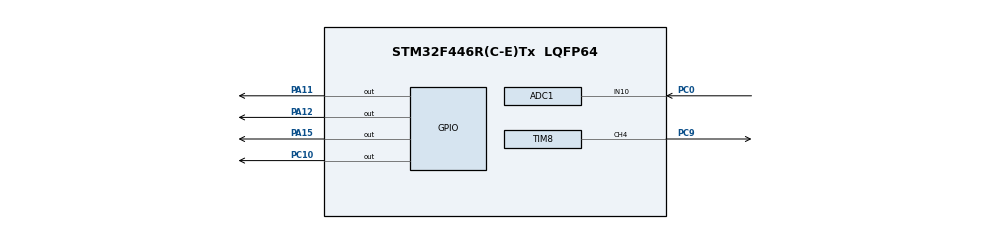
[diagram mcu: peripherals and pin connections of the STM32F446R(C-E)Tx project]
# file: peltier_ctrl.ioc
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ADC1.Channel-0\#ChannelRegularConversion=ADC_CHANNEL_10
ADC1.NbrOfConversionFlag=1
ADC1.Rank-0\#ChannelRegularConversion=1
ADC1.SamplingTime-0\#ChannelRegularConversion=ADC_SAMPLETIME_28CYCLES
ADC1.master=1
Mcu.Family=STM32F4
Mcu.Name=STM32F446R(C-E)Tx
Mcu.Package=LQFP64
NVIC.PriorityGroup=NVIC_PRIORITYGROUP_4
NVIC.TIM2_IRQn=true\:0\:0\:false\:false\:true\:true\:true
PA11.Signal=GPIO_Output
PA12.Signal=GPIO_Output
PA15.Signal=GPIO_Output
PC0.Signal=ADCx_IN10
PC10.Signal=GPIO_Output
PC9.Signal=S_TIM8_CH4
ProjectManager.HeapSize=0x200
ProjectManager.StackSize=0x400
ProjectManager.TargetToolchain=STM32CubeIDE
RCC.CortexFreq_Value=16000000
RCC.USBFreq_Value=96000000
RCC.VCOOutputFreq_Value=192000000
SH.ADCx_IN10.0=ADC1_IN10,IN10
SH.S_TIM8_CH4.0=TIM8_CH4,PWM Generation4 CH4
TIM2.AutoReloadPreload=TIM_AUTORELOAD_PRELOAD_ENABLE
TIM2.Channel-Output\ Compare1\ No\ Output=TIM_CHANNEL_1
TIM2.Period=2000
TIM2.Prescaler=15999
TIM8.AutoReloadPreload=TIM_AUTORELOAD_PRELOAD_ENABLE
TIM8.Channel-PWM\ Generation4\ CH4=TIM_CHANNEL_4
TIM8.Period=999
TIM8.Prescaler=15
TIM8.Pulse-PWM\ Generation4\ CH4=900
VP_TIM2_VS_ClockSourceINT.Mode=Internal
VP_TIM2_VS_no_output1.Mode=Output Compare1 No Output
VP_TIM8_VS_ClockSourceINT.Mode=Internal
board=custom

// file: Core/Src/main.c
/* USER CODE BEGIN Header */
/**
  ******************************************************************************
  * @file           : main.c
  * @brief          : Main program body
  ******************************************************************************
  * @attention
  *
  * <h2><center>&copy; Copyright (c) 2023 STMicroelectronics.
  * All rights reserved.</center></h2>
  *
  * This software component is licensed by ST under BSD 3-Clause license,
  * the "License"; You may not use this file except in compliance with the
  * License. You may obtain a copy of the License at:
  *                        opensource.org/licenses/BSD-3-Clause
  *
  ******************************************************************************
  */
/* USER CODE END Header */

#include "main.h"
#include "adc.h"
#include "tim.h"
#include "gpio.h"

void SystemClock_Config(void);

/* USER CODE BEGIN 0 */
uint32_t adcVal;
/* USER CODE END 0 */

int main(void)
{

  /* MCU Configuration--------------------------------------------------------*/

  /* Reset of all peripherals, Initializes the Flash interface and the Systick. */
  HAL_Init();

  /* Configure the system clock */
  SystemClock_Config();

  /* Initialize all configured peripherals */
  MX_GPIO_Init();
  MX_ADC1_Init();
  MX_TIM8_Init();
  MX_TIM2_Init();
  /* USER CODE BEGIN 2 */
  HAL_TIM_PWM_Start(&htim8, TIM_CHANNEL_4);

  HAL_GPIO_WritePin(GPIOA, GPIO_PIN_11, RESET);
  HAL_GPIO_WritePin(GPIOA, GPIO_PIN_15, RESET);
  HAL_GPIO_WritePin(GPIOA, GPIO_PIN_12, SET);
  HAL_GPIO_WritePin(GPIOC, GPIO_PIN_10, SET);

  //_HAL_TIM_SET_COMPARE(&htim8, TIM_CHANNEL_3, 700);
  /* USER CODE END 2 */

  /* Infinite loop */
  while (1)
  {

  }
}

void SystemClock_Config(void)
{
  RCC_OscInitTypeDef RCC_OscInitStruct = {0};
  RCC_ClkInitTypeDef RCC_ClkInitStruct = {0};

  /** Configure the main internal regulator output voltage
  */
  __HAL_RCC_PWR_CLK_ENABLE();
  __HAL_PWR_VOLTAGESCALING_CONFIG(PWR_REGULATOR_VOLTAGE_SCALE3);
  /** Initializes the CPU, AHB and APB busses clocks
  */
  RCC_OscInitStruct.OscillatorType = RCC_OSCILLATORTYPE_HSI;
  RCC_OscInitStruct.HSIState = RCC_HSI_ON;
  RCC_OscInitStruct.HSICalibrationValue = RCC_HSICALIBRATION_DEFAULT;
  RCC_OscInitStruct.PLL.PLLState = RCC_PLL_NONE;
  if (HAL_RCC_OscConfig(&RCC_OscInitStruct) != HAL_OK)
  {
    Error_Handler();
  }
  /** Initializes the CPU, AHB and APB busses clocks
  */
  RCC_ClkInitStruct.ClockType = RCC_CLOCKTYPE_HCLK|RCC_CLOCKTYPE_SYSCLK
                              |RCC_CLOCKTYPE_PCLK1|RCC_CLOCKTYPE_PCLK2;
  RCC_ClkInitStruct.SYSCLKSource = RCC_SYSCLKSOURCE_HSI;
  RCC_ClkInitStruct.AHBCLKDivider = RCC_SYSCLK_DIV1;
  RCC_ClkInitStruct.APB1CLKDivider = RCC_HCLK_DIV1;
  RCC_ClkInitStruct.APB2CLKDivider = RCC_HCLK_DIV1;

  if (HAL_RCC_ClockConfig(&RCC_ClkInitStruct, FLASH_LATENCY_0) != HAL_OK)
  {
    Error_Handler();
  }
}

/* USER CODE BEGIN 4 */
void HAL_TIM_PeriodElapsedCallback(TIM_HandleTypeDef *htim)
{
	if(htim ->Instance == TIM2)
	{
		 HAL_ADC_Start(&hadc1);
		 if(HAL_ADC_PollForConversion(&hadc1, 5) == HAL_OK)
		 {
			 adcVal = HAL_ADC_GetValue(&hadc1);
		 }

		 if(adcVal > 831)
		 {
			 __HAL_TIM_SET_COMPARE(&htim8, TIM_CHANNEL_4, 950);
		 }
		 else
		 {
			 __HAL_TIM_SET_COMPARE(&htim8, TIM_CHANNEL_4, 750);
		 }
	}
}
/* USER CODE END 4 */

void Error_Handler(void)
{
}

/************************ (C) COPYRIGHT STMicroelectronics *****END OF FILE****/
